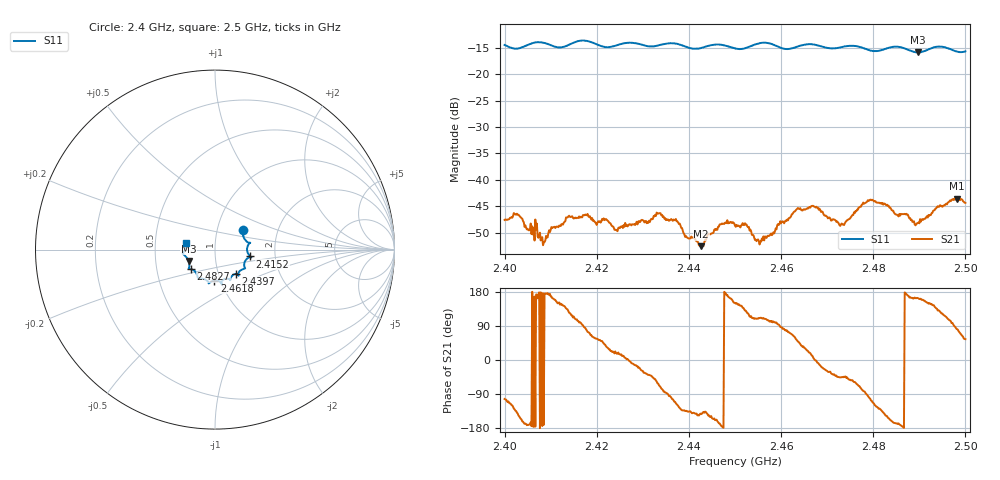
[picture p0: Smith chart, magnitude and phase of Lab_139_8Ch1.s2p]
# Hz S RI R 50
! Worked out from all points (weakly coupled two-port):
!   601 points, 2.4 GHz to 2.5 GHz, reference 50 ohm
!   highest |S21| = -43.53 dB at 2.4982 GHz (marker M1); lowest = -52.5 dB at 2.4427 GHz (marker M2)
!   lowest |S11| = -15.9 dB at 2.4897 GHz (marker M3), VSWR 1.38, Z = 36.9 - j4.82 ohm
!   |S11| at or under -10 dB: start of sweep to end of sweep
!   S12 and S22 are empty: the file has one direction only
!   S11 on the Smith chart (normalised r, x): 2.4 GHz: 1.33, +0.29; 2.4152 GHz: 1.48, -0.12; 2.4397 GHz: 1.21, -0.34; 2.4618 GHz: 0.94, -0.33; 2.4827 GHz: 0.75, -0.17; 2.5 GHz: 0.72, +0.06
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2.4e9  0.1552 0.1066  -0.000936 -0.00408  0 0  0 0
2.403e9  0.1644 0.0593  -0.0039 -0.00261  0 0  0 0
2.408333e9  0.1946 0.0371  -0.00241 0.000157  0 0  0 0
2.415167e9  0.1957 -0.0382  -0.00153 0.00408  0 0  0 0
2.416667e9  0.2027 -0.0433  -0.000467 0.00443  0 0  0 0
2.424333e9  0.1631 -0.0911  0.0032 0.000954  0 0  0 0
2.433333e9  0.1298 -0.1338  0.00223 -0.00426  0 0  0 0
2.4375e9  0.1305 -0.1419  -0.00196 -0.00356  0 0  0 0
2.439667e9  0.1167 -0.1358  -0.00204 -0.00199  0 0  0 0
2.442667e9  0.0906 -0.1514  -0.00189 -0.00143  0 0  0 0
2.446833e9  0.0844 -0.1697  -0.00375 -0.00063  0 0  0 0
2.45e9  0.0655 -0.162  -0.00322 0.00183  0 0  0 0
2.455167e9  0.0366 -0.1917  -0.00095 0.00248  0 0  0 0
2.461833e9  -0.00326 -0.1729  0.00136 0.00417  0 0  0 0
2.466667e9  -0.035 -0.188  0.00556 0.00117  0 0  0 0
2.473167e9  -0.082 -0.1601  0.00274 -0.00275  0 0  0 0
2.479e9  -0.1032 -0.1336  -0.000813 -0.00631  0 0  0 0
2.482667e9  -0.1349 -0.1087  -0.00489 -0.00323  0 0  0 0
2.483333e9  -0.1399 -0.1083  -0.00511 -0.00255  0 0  0 0
2.489667e9  -0.1468 -0.0635  -0.00375 0.00111  0 0  0 0
2.498167e9  -0.1629 0.00691  0.000995 0.00659  0 0  0 0
2.5e9  -0.1595 0.0382  0.00349 0.00498  0 0  0 0
